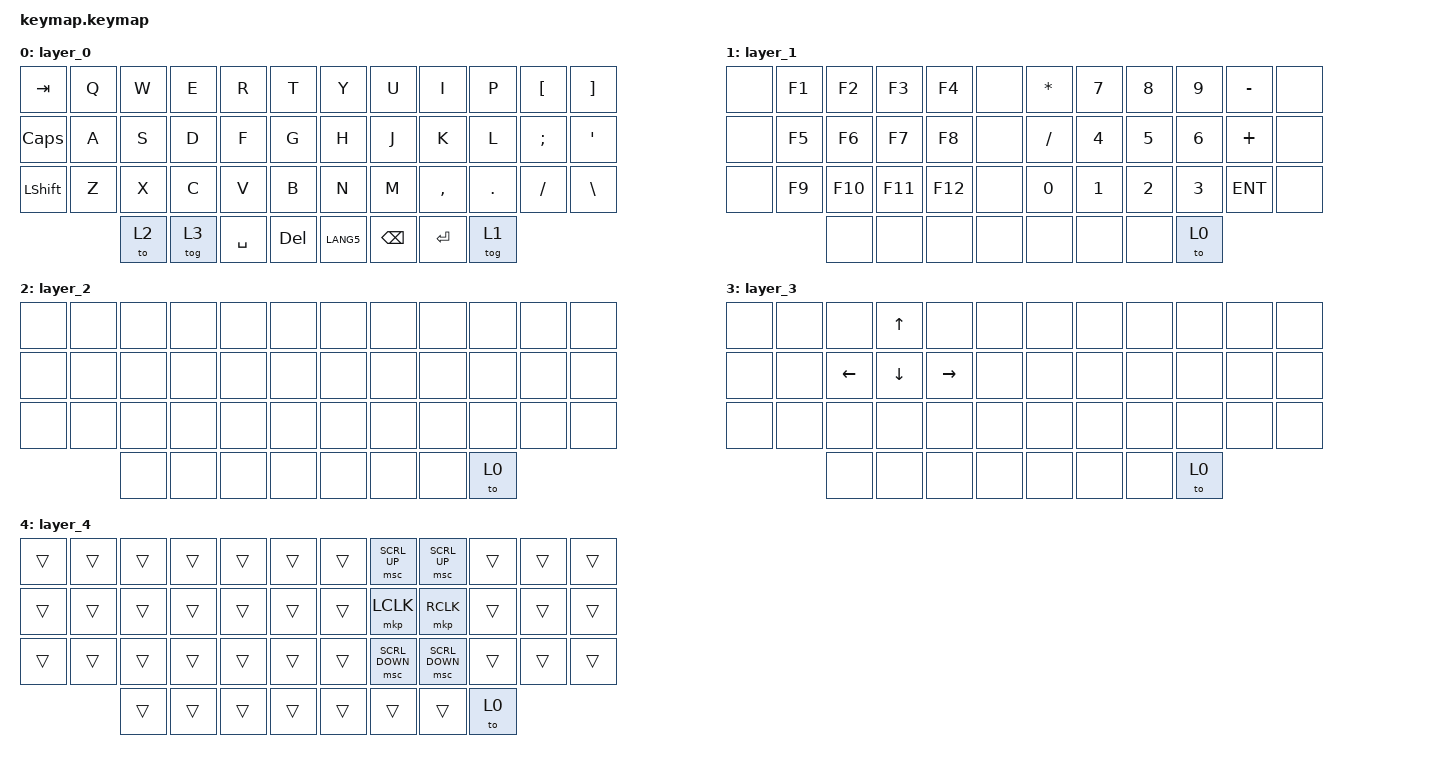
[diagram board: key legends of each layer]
#include <behaviors.dtsi>
#include <dt-bindings/zmk/keys.h>
#include <dt-bindings/zmk/pointing.h>

/ {
    behaviors {
        auto_layer: auto_layer {
            compatible = "zmk,behavior-auto-layer";
            #binding-cells = <1>;
            continue-list = <MKP_LCLK MKP_RCLK>;
            timeout-ms = <4000>;
        };
    };

    keymap {
        compatible = "zmk,keymap";

        layer_0 {
            bindings = <
&kp TAB    &kp Q  &kp W      &kp E      &kp R      &kp T      &kp Y      &kp U      &kp I      &kp P     &kp LBKT  &kp RBKT
&kp CLCK   &kp A  &kp S      &kp D      &kp F      &kp G      &kp H      &kp J      &kp K      &kp L     &kp SEMI  &kp SQT
&kp LSHFT  &kp Z  &kp X      &kp C      &kp V      &kp B      &kp N      &kp M      &kp COMMA  &kp DOT   &kp SLASH &kp BSLH
                  &to 2      &tog 3     &kp SPACE  &kp DEL    &kp LANG5  &kp BSPC   &kp RET    &tog 1
            >;
        };

        layer_1 {
            bindings = <
&none  &kp F1  &kp F2   &kp F3   &kp F4   &none  &kp ASTRK  &kp N7  &kp N8  &kp N9  &kp MINUS  &none
&none  &kp F5  &kp F6   &kp F7   &kp F8   &none  &kp SLASH  &kp N4  &kp N5  &kp N6  &kp PLUS   &none
&none  &kp F9  &kp F10  &kp F11  &kp F12  &none  &kp N0     &kp N1  &kp N2  &kp N3  &kp K_ENT  &none
               &none    &none    &none    &none  &none      &none   &none   &to 0
            >;
        };

        layer_2 {
            bindings = <
&none  &none  &none  &none  &none  &none  &none  &none  &none  &none  &none  &none
&none  &none  &none  &none  &none  &none  &none  &none  &none  &none  &none  &none
&none  &none  &none  &none  &none  &none  &none  &none  &none  &none  &none  &none
              &none  &none  &none  &none  &none  &none  &none  &to 0
            >;
        };

        layer_3 {
            bindings = <
&none  &none  &none     &kp UP    &none      &none  &none  &none  &none  &none  &none  &none
&none  &none  &kp LEFT  &kp DOWN  &kp RIGHT  &none  &none  &none  &none  &none  &none  &none
&none  &none  &none     &none     &none      &none  &none  &none  &none  &none  &none  &none
              &none     &none     &none      &none  &none  &none  &none  &to 0
            >;
        };

        layer_4 {
            bindings = <
&trans  &trans  &trans  &trans  &trans  &trans  &trans  &msc SCRL_UP    &msc SCRL_UP    &trans  &trans  &trans
&trans  &trans  &trans  &trans  &trans  &trans  &trans  &mkp LCLK       &mkp RCLK       &trans  &trans  &trans
&trans  &trans  &trans  &trans  &trans  &trans  &trans  &msc SCRL_DOWN  &msc SCRL_DOWN  &trans  &trans  &trans
                &trans  &trans  &trans  &trans  &trans  &trans          &trans          &to 0
            >;
        };
    };
};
